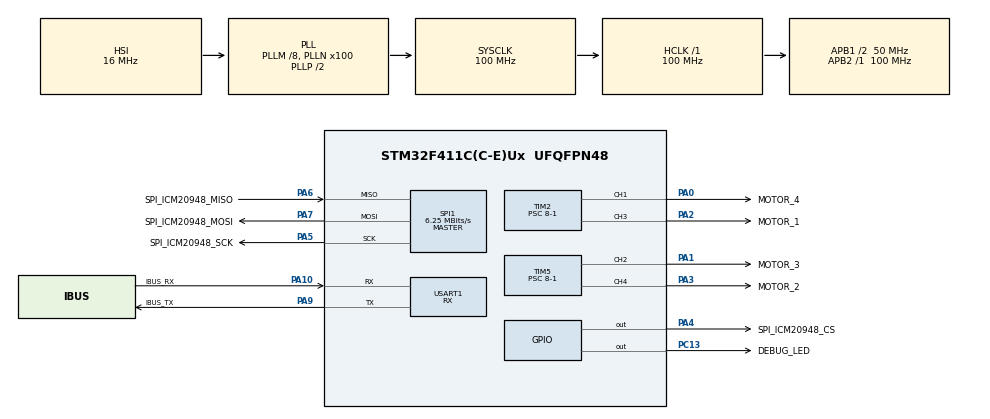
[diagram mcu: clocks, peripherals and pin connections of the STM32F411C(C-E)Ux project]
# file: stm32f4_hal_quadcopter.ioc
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Dma.Request0=TIM2_CH1
Dma.Request1=TIM2_CH3/UP
Dma.Request2=TIM5_CH2
Dma.Request3=TIM5_CH4/TRIG
Dma.TIM2_CH1.0.Direction=DMA_MEMORY_TO_PERIPH
Dma.TIM2_CH1.0.FIFOMode=DMA_FIFOMODE_ENABLE
Dma.TIM2_CH1.0.FIFOThreshold=DMA_FIFO_THRESHOLD_1QUARTERFULL
Dma.TIM2_CH1.0.Instance=DMA1_Stream5
Dma.TIM2_CH1.0.MemBurst=DMA_MBURST_SINGLE
Dma.TIM2_CH1.0.MemDataAlignment=DMA_MDATAALIGN_WORD
Dma.TIM2_CH1.0.MemInc=DMA_MINC_ENABLE
Dma.TIM2_CH1.0.Mode=DMA_NORMAL
Dma.TIM2_CH1.0.PeriphBurst=DMA_PBURST_SINGLE
Dma.TIM2_CH1.0.PeriphDataAlignment=DMA_PDATAALIGN_WORD
Dma.TIM2_CH1.0.PeriphInc=DMA_PINC_DISABLE
Dma.TIM2_CH1.0.Priority=DMA_PRIORITY_LOW
Dma.TIM2_CH3/UP.1.Direction=DMA_MEMORY_TO_PERIPH
Dma.TIM2_CH3/UP.1.FIFOMode=DMA_FIFOMODE_ENABLE
Dma.TIM2_CH3/UP.1.FIFOThreshold=DMA_FIFO_THRESHOLD_1QUARTERFULL
Dma.TIM2_CH3/UP.1.Instance=DMA1_Stream1
Dma.TIM2_CH3/UP.1.MemBurst=DMA_MBURST_SINGLE
Dma.TIM2_CH3/UP.1.MemDataAlignment=DMA_MDATAALIGN_WORD
Dma.TIM2_CH3/UP.1.MemInc=DMA_MINC_ENABLE
Dma.TIM2_CH3/UP.1.Mode=DMA_NORMAL
Dma.TIM2_CH3/UP.1.PeriphBurst=DMA_PBURST_SINGLE
Dma.TIM2_CH3/UP.1.PeriphDataAlignment=DMA_PDATAALIGN_WORD
Dma.TIM2_CH3/UP.1.PeriphInc=DMA_PINC_DISABLE
Dma.TIM2_CH3/UP.1.Priority=DMA_PRIORITY_LOW
Dma.TIM5_CH2.2.Direction=DMA_MEMORY_TO_PERIPH
Dma.TIM5_CH2.2.FIFOMode=DMA_FIFOMODE_ENABLE
Dma.TIM5_CH2.2.FIFOThreshold=DMA_FIFO_THRESHOLD_1QUARTERFULL
Dma.TIM5_CH2.2.Instance=DMA1_Stream4
Dma.TIM5_CH2.2.MemBurst=DMA_MBURST_SINGLE
Dma.TIM5_CH2.2.MemDataAlignment=DMA_MDATAALIGN_WORD
Dma.TIM5_CH2.2.MemInc=DMA_MINC_ENABLE
Dma.TIM5_CH2.2.Mode=DMA_NORMAL
Dma.TIM5_CH2.2.PeriphBurst=DMA_PBURST_SINGLE
Dma.TIM5_CH2.2.PeriphDataAlignment=DMA_PDATAALIGN_WORD
Dma.TIM5_CH2.2.PeriphInc=DMA_PINC_DISABLE
Dma.TIM5_CH2.2.Priority=DMA_PRIORITY_LOW
Dma.TIM5_CH4/TRIG.3.Direction=DMA_MEMORY_TO_PERIPH
Dma.TIM5_CH4/TRIG.3.FIFOMode=DMA_FIFOMODE_ENABLE
Dma.TIM5_CH4/TRIG.3.FIFOThreshold=DMA_FIFO_THRESHOLD_1QUARTERFULL
Dma.TIM5_CH4/TRIG.3.Instance=DMA1_Stream3
Dma.TIM5_CH4/TRIG.3.MemBurst=DMA_MBURST_SINGLE
Dma.TIM5_CH4/TRIG.3.MemDataAlignment=DMA_MDATAALIGN_WORD
Dma.TIM5_CH4/TRIG.3.MemInc=DMA_MINC_ENABLE
Dma.TIM5_CH4/TRIG.3.Mode=DMA_NORMAL
Dma.TIM5_CH4/TRIG.3.PeriphBurst=DMA_PBURST_SINGLE
Dma.TIM5_CH4/TRIG.3.PeriphDataAlignment=DMA_PDATAALIGN_WORD
Dma.TIM5_CH4/TRIG.3.PeriphInc=DMA_PINC_DISABLE
Dma.TIM5_CH4/TRIG.3.Priority=DMA_PRIORITY_LOW
Mcu.Family=STM32F4
Mcu.Name=STM32F411C(C-E)Ux
Mcu.Package=UFQFPN48
NVIC.DMA1_Stream1_IRQn=true\:0\:0\:false\:false\:true\:false\:true
NVIC.DMA1_Stream3_IRQn=true\:0\:0\:false\:false\:true\:false\:true
NVIC.DMA1_Stream4_IRQn=true\:0\:0\:false\:false\:true\:false\:true
NVIC.DMA1_Stream5_IRQn=true\:0\:0\:false\:false\:true\:false\:true
NVIC.PriorityGroup=NVIC_PRIORITYGROUP_4
NVIC.TIM1_TRG_COM_TIM11_IRQn=true\:1\:0\:true\:false\:true\:true\:true
NVIC.USART1_IRQn=true\:0\:0\:true\:false\:true\:true\:true
PA0-WKUP.GPIO_Label=MOTOR_4
PA0-WKUP.Signal=S_TIM2_CH1_ETR
PA1.GPIO_Label=MOTOR_3
PA1.Signal=S_TIM5_CH2
PA10.GPIO_Label=IBUS_RX
PA10.Mode=Asynchronous
PA10.Signal=USART1_RX
PA13.Mode=Serial_Wire
PA13.Signal=SYS_JTMS-SWDIO
PA14.Mode=Serial_Wire
PA14.Signal=SYS_JTCK-SWCLK
PA2.GPIO_Label=MOTOR_1
PA2.Signal=S_TIM2_CH3
PA3.GPIO_Label=MOTOR_2
PA3.Signal=S_TIM5_CH4
PA4.GPIO_Label=SPI_ICM20948_CS
PA4.PinState=GPIO_PIN_RESET
PA4.Signal=GPIO_Output
PA5.GPIO_Label=SPI_ICM20948_SCK
PA5.Mode=Full_Duplex_Master
PA5.Signal=SPI1_SCK
PA6.GPIO_Label=SPI_ICM20948_MISO
PA6.Mode=Full_Duplex_Master
PA6.Signal=SPI1_MISO
PA7.GPIO_Label=SPI_ICM20948_MOSI
PA7.Mode=Full_Duplex_Master
PA7.Signal=SPI1_MOSI
PA9.GPIO_Label=IBUS_TX
PA9.Mode=Asynchronous
PA9.Signal=USART1_TX
PC13-ANTI_TAMP.GPIO_Label=DEBUG_LED
PC13-ANTI_TAMP.PinState=GPIO_PIN_SET
PC13-ANTI_TAMP.Signal=GPIO_Output
PC14-OSC32_IN.Mode=LSE-External-Oscillator
PC14-OSC32_IN.Signal=RCC_OSC32_IN
PC15-OSC32_OUT.Mode=LSE-External-Oscillator
PC15-OSC32_OUT.Signal=RCC_OSC32_OUT
PH0\ -\ OSC_IN.Mode=HSE-External-Oscillator
PH0\ -\ OSC_IN.Signal=RCC_OSC_IN
PH1\ -\ OSC_OUT.Mode=HSE-External-Oscillator
PH1\ -\ OSC_OUT.Signal=RCC_OSC_OUT
ProjectManager.HeapSize=0x200
ProjectManager.StackSize=0x400
ProjectManager.TargetToolchain=STM32CubeIDE
RCC.48MHZClocksFreq_Value=50000000
RCC.AHBFreq_Value=100000000
RCC.APB1CLKDivider=RCC_HCLK_DIV2
RCC.APB1Freq_Value=50000000
RCC.APB1TimFreq_Value=100000000
RCC.APB2Freq_Value=100000000
RCC.APB2TimFreq_Value=100000000
RCC.CortexFreq_Value=100000000
RCC.HCLKFreq_Value=100000000
RCC.HSE_VALUE=25000000
RCC.HSI_VALUE=16000000
RCC.PLLM=8
RCC.PLLN=100
RCC.SYSCLKFreq_VALUE=100000000
RCC.SYSCLKSource=RCC_SYSCLKSOURCE_PLLCLK
RCC.VCOOutputFreq_Value=200000000
SH.S_TIM2_CH1_ETR.0=TIM2_CH1,PWM Generation1 CH1
SH.S_TIM2_CH3.0=TIM2_CH3,PWM Generation3 CH3
SH.S_TIM5_CH2.0=TIM5_CH2,PWM Generation2 CH2
SH.S_TIM5_CH4.0=TIM5_CH4,PWM Generation4 CH4
SPI1.BaudRatePrescaler=SPI_BAUDRATEPRESCALER_16
SPI1.CLKPhase=SPI_PHASE_2EDGE
SPI1.CLKPolarity=SPI_POLARITY_HIGH
SPI1.CalculateBaudRate=6.25 MBits/s
SPI1.Direction=SPI_DIRECTION_2LINES
SPI1.Mode=SPI_MODE_MASTER
SPI1.VirtualType=VM_MASTER
TIM11.Period=889-1
TIM11.Prescaler=99
TIM2.Channel-PWM\ Generation1\ CH1=TIM_CHANNEL_1
TIM2.Channel-PWM\ Generation3\ CH3=TIM_CHANNEL_3
TIM2.Period=20
TIM2.Prescaler=8-1
TIM5.Channel-PWM\ Generation2\ CH2=TIM_CHANNEL_2
TIM5.Channel-PWM\ Generation4\ CH4=TIM_CHANNEL_4
TIM5.Period=20
TIM5.Prescaler=8-1
USART1.Mode=MODE_RX
USART1.VirtualMode=VM_ASYNC
VP_TIM11_VS_ClockSourceINT.Mode=Enable_Timer
board=custom

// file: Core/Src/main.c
/* USER CODE BEGIN Header */
/**
  ******************************************************************************
  * @file           : main.c
  * @brief          : Main program body
  ******************************************************************************
  * @attention
  *
  * <h2><center>&copy; Copyright (c) 2021 STMicroelectronics.
  * All rights reserved.</center></h2>
  *
  * This software component is licensed by ST under BSD 3-Clause license,
  * the "License"; You may not use this file except in compliance with the
  * License. You may obtain a copy of the License at:
  *                        opensource.org/licenses/BSD-3-Clause
  *
  ******************************************************************************
  */
/* USER CODE END Header */
#include "main.h"
#include "dma.h"
#include "spi.h"
#include "tim.h"
#include "usart.h"
#include "gpio.h"

/* USER CODE BEGIN Includes */

// c standard library
#include "string.h"

// personal library
#include "icm_20948.h"		// sensor
#include "dshot.h"			// motor
#include "flysky_ibus.h"	// rc
#include "pid.h"			// control

/* USER CODE END Includes */

/* USER CODE BEGIN PTD */

typedef enum
{
	DISARMING = 0,
	ARMING = 1,

	INIT_ERROR = 2

} DRONE_STATE;

/* USER CODE END PTD */

/* USER CODE BEGIN PV */

// check  period
uint32_t			period_us		= 0;

// sensor variable
uint8_t 			id_icm20948 	= 0;	// 0xEA
uint8_t 			id_ak09916 		= 0;	// 0x09

extern offset_t		my_offset;
icm20948_t 			my_icm20948 	= {0, };
angle_t 			my_angle 		= {0, };

// motor variable
motors_s 			my_motors;				// dshot data frame structure
throttle_a 			my_value[4]		= {0};	// throttle of entire motors

// rc controller variable
uint8_t 			my_ibus_state = 0;
uint8_t				my_ibus_check = 0;

rc_channel_a 		my_channel[IBUS_USER_CHANNELS] = {0};
extern uint8_t 		ibus_buffer[32];

// pid variable
target_angle_t 		my_target_angle		 = {0, };	// 0
balancing_force_t 	my_balancing_force	 = {0, };	// output of pid

/* USER CODE END PV */

void SystemClock_Config(void);
/* USER CODE BEGIN PFP */

// reset variable if drone is disarming
void reset_my_variable()
{
	// receiver
	//memset(&my_channel, 0, sizeof(rc_channel_a) * IBUS_USER_CHANNELS);

	// sensor
	memset(&my_icm20948, 0, sizeof(icm20948_t));
	memset(&my_angle, 0, sizeof(angle_t));

	// motor
	memset(&my_value, 0, sizeof(throttle_a) * 4);
}

/* USER CODE END PFP */

/* USER CODE BEGIN 0 */

// preemption priority : 1
void HAL_TIM_PeriodElapsedCallback(TIM_HandleTypeDef *htim)
{

  // 1.125khz loop
  if (htim == &htim11)
  {

	  // RC receiver
	  if(my_ibus_state == IBUS_DATA_READY && ibus_read_channel(my_channel) == IBUS_DATA_GOOD)
	  {
		  my_ibus_state = IBUS_READY;
		  my_ibus_check = 0;
	  }
	  else
	  {
		  my_ibus_check++;
	  }

	  // fail-safe
	  if(my_ibus_check > 10)
	  {
		  my_ibus_state = IBUS_MISSING;
	  }

	  // arming & fail-safe
	  if(my_channel[4] == 2000 && my_ibus_state != IBUS_MISSING)
	  {
		  HAL_GPIO_WritePin(DEBUG_LED_GPIO_Port, DEBUG_LED_Pin, RESET);

		  // angle
		  complementary_filter(&my_icm20948, &my_angle);

		  // pid
		  //p_control(&my_balancing_force, &my_target_angle, &my_angle);

		  // distribute
		  distribute(my_value, my_channel, &my_balancing_force);
	  }

	  // disarming
	  else
	  {
		  HAL_GPIO_WritePin(DEBUG_LED_GPIO_Port, DEBUG_LED_Pin, SET);

		  // reset variable
		  reset_my_variable();
	  }

	  // send throttle
	  run_dshot600(&my_motors, my_value);

	  // running time
	  period_us = __HAL_TIM_GET_COUNTER(&htim11);

  }

}

// ibus protocol receive interrupt
// preemption priority : 0
void HAL_UART_RxCpltCallback(UART_HandleTypeDef *huart)
{
	// receive send data every 7ms

	if(huart->Instance == IBUS_UART_INSTANCE)
	{
		my_ibus_state = IBUS_DATA_READY;
		HAL_UART_Receive_IT(IBUS_UART, ibus_buffer, 32);

	}

}

/* USER CODE END 0 */

int main(void)
{

  /* MCU Configuration--------------------------------------------------------*/

  /* Reset of all peripherals, Initializes the Flash interface and the Systick. */
  HAL_Init();

  /* Configure the system clock */
  SystemClock_Config();

  /* Initialize all configured peripherals */
  MX_GPIO_Init();
  MX_DMA_Init();
  MX_SPI1_Init();
  MX_TIM2_Init();
  MX_TIM5_Init();

  MX_TIM11_Init();
  MX_USART1_UART_Init();
  /* USER CODE BEGIN 2 */

  // check rc receiver
  HAL_UART_Receive_IT(IBUS_UART, ibus_buffer, 32);
  while(ibus_init() != IBUS_OK);

  // check sensor id
  while(whoami_icm20948() != DEVICE_ID_ICM20948);
  //while(whoami_ak09916() != DEVICE_ID_AK09916);

  // init sensor
  icm20948_init();
  //ak09916_init();

  // calibrate sensor
  // I think there is a optimized and fixed offset value
  HAL_Delay(100);
  calibrate_icm20948(&my_icm20948, 200);

  // finish init
  for(int i = 0; i < 6; i++)
  {
	  HAL_GPIO_TogglePin(DEBUG_LED_GPIO_Port, DEBUG_LED_Pin);
	  HAL_Delay(300);
  }

  // start 1.125khz loop
  HAL_TIM_Base_Start_IT(&htim11);

  // init dshot

  /* USER CODE END 2 */

  /* Infinite loop */
  while (1)
  {

  }
}

void SystemClock_Config(void)
{
  RCC_OscInitTypeDef RCC_OscInitStruct = {0};
  RCC_ClkInitTypeDef RCC_ClkInitStruct = {0};

  /** Configure the main internal regulator output voltage
  */
  __HAL_RCC_PWR_CLK_ENABLE();
  __HAL_PWR_VOLTAGESCALING_CONFIG(PWR_REGULATOR_VOLTAGE_SCALE1);
  /** Initializes the RCC Oscillators according to the specified parameters
  * in the RCC_OscInitTypeDef structure.
  */
  RCC_OscInitStruct.OscillatorType = RCC_OSCILLATORTYPE_HSI;
  RCC_OscInitStruct.HSIState = RCC_HSI_ON;
  RCC_OscInitStruct.HSICalibrationValue = RCC_HSICALIBRATION_DEFAULT;
  RCC_OscInitStruct.PLL.PLLState = RCC_PLL_ON;
  RCC_OscInitStruct.PLL.PLLSource = RCC_PLLSOURCE_HSI;
  RCC_OscInitStruct.PLL.PLLM = 8;
  RCC_OscInitStruct.PLL.PLLN = 100;
  RCC_OscInitStruct.PLL.PLLP = RCC_PLLP_DIV2;
  RCC_OscInitStruct.PLL.PLLQ = 4;
  if (HAL_RCC_OscConfig(&RCC_OscInitStruct) != HAL_OK)
  {
    Error_Handler();
  }
  /** Initializes the CPU, AHB and APB buses clocks
  */
  RCC_ClkInitStruct.ClockType = RCC_CLOCKTYPE_HCLK|RCC_CLOCKTYPE_SYSCLK
                              |RCC_CLOCKTYPE_PCLK1|RCC_CLOCKTYPE_PCLK2;
  RCC_ClkInitStruct.SYSCLKSource = RCC_SYSCLKSOURCE_PLLCLK;
  RCC_ClkInitStruct.AHBCLKDivider = RCC_SYSCLK_DIV1;
  RCC_ClkInitStruct.APB1CLKDivider = RCC_HCLK_DIV2;
  RCC_ClkInitStruct.APB2CLKDivider = RCC_HCLK_DIV1;

  if (HAL_RCC_ClockConfig(&RCC_ClkInitStruct, FLASH_LATENCY_3) != HAL_OK)
  {
    Error_Handler();
  }
}

void Error_Handler(void)
{
  __disable_irq();
  while (1)
  {
  }
}

/************************ (C) COPYRIGHT STMicroelectronics *****END OF FILE****/
